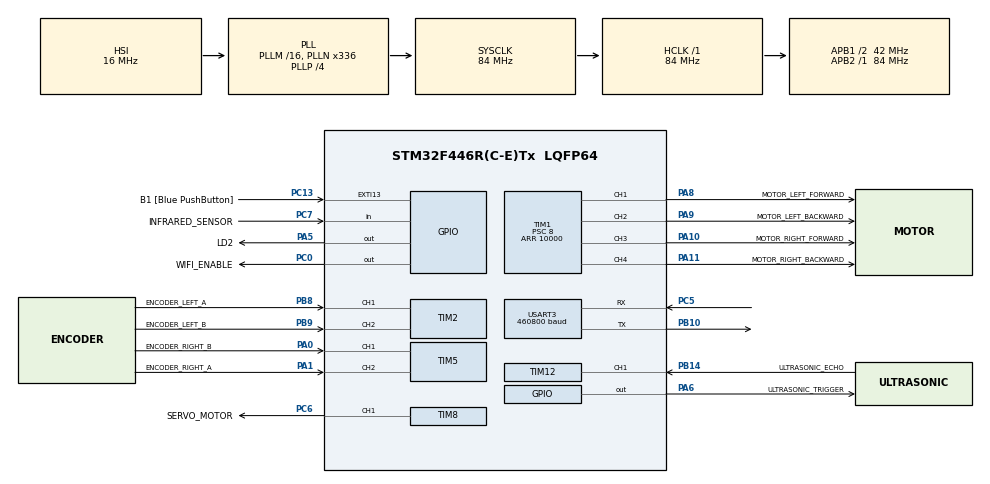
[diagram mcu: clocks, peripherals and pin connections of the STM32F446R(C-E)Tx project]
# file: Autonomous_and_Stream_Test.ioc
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Mcu.Family=STM32F4
NVIC.USART3_IRQn=true\:5\:0\:false\:false\:true\:true\:true\:true
PH0-OSC_IN.Signal=RCC_OSC_IN
VP_SYS_VS_tim6.Mode=TIM6
SH.S_TIM1_CH4.0=TIM1_CH4,PWM Generation4 CH4
RCC.CortexFreq_Value=84000000
PB10.Mode=Asynchronous
TIM12.ICPolarity_CH1=TIM_INPUTCHANNELPOLARITY_FALLING
NVIC.TIM6_DAC_IRQn=true\:0\:0\:false\:false\:true\:false\:false\:true
PB14.GPIO_Label=ULTRASONIC_ECHO
PA14.GPIO_Label=TCK
SH.S_TIM5_CH2.0=TIM5_CH2,Encoder_Interface
PC0.GPIO_Label=WIFI_ENABLE
PC6.GPIO_Label=SERVO_MOTOR
PA6.GPIO_Label=ULTRASONIC_TRIGGER
PC5.Mode=Asynchronous
PC13.GPIO_Label=B1 [Blue PushButton]
RCC.SYSCLKSource=RCC_SYSCLKSOURCE_PLLCLK
ProjectManager.StackSize=0x400
VP_FREERTOS_VS_CMSIS_V2.Mode=CMSIS_V2
VP_TIM7_VS_ClockSourceINT.Mode=Enable_Timer
TIM1.Prescaler=8
USART3.BaudRate=460800
TIM1.Channel-PWM\ Generation4\ CH4=TIM_CHANNEL_4
RCC.HCLKFreq_Value=84000000
TIM8.Channel-PWM\ Generation1\ CH1=TIM_CHANNEL_1
RCC.APB2TimFreq_Value=84000000
PC7.Signal=GPIO_Input
RCC.AHBFreq_Value=84000000
PH0-OSC_IN.Mode=HSE-External-Oscillator
RCC.HSE_VALUE=8000000
TIM12.Period=0xffff
PC14-OSC32_IN.Mode=LSE-External-Oscillator
SH.S_TIM12_CH1.0=TIM12_CH1,Input_Capture1_from_TI1
TIM1.Channel-PWM\ Generation1\ CH1=TIM_CHANNEL_1
PA14.Mode=Serial_Wire
PA10.GPIO_Label=MOTOR_RIGHT_FORWARD
Dma.USART3_TX.0.FIFOMode=DMA_FIFOMODE_DISABLE
PA8.Signal=S_TIM1_CH1
VP_TIM12_VS_ClockSourceINT.Mode=Internal
Dma.USART3_TX.0.Mode=DMA_NORMAL
VP_TIM1_VS_ClockSourceINT.Mode=Internal
TIM5.IC1Filter=15
Dma.USART3_TX.0.PeriphInc=DMA_PINC_DISABLE
RCC.FLatency-AdvancedSettings=FLASH_LATENCY_2
Dma.USART3_TX.0.MemDataAlignment=DMA_MDATAALIGN_BYTE
PH1-OSC_OUT.Mode=HSE-External-Oscillator
Mcu.Package=LQFP64
PB9.Signal=S_TIM2_CH2
PA6.Signal=GPIO_Output
NVIC.TimeBase=TIM6_DAC_IRQn
PA2.GPIO_Label=USART_TX
NVIC.TimeBaseIP=TIM6
PA10.Signal=S_TIM1_CH3
Dma.USART3_TX.0.PeriphDataAlignment=DMA_PDATAALIGN_BYTE
RCC.APB1TimFreq_Value=84000000
SH.S_TIM5_CH1.0=TIM5_CH1,Encoder_Interface
PC5.Signal=USART3_RX
TIM1.Period=10000
PC0.GPIO_PuPd=GPIO_NOPULL
Dma.Request0=USART3_TX
PC0.PinState=GPIO_PIN_RESET
VP_TIM3_VS_ClockSourceINT.Mode=Internal
PA3.Signal=USART2_RX
PB3.GPIO_Label=SWO
PC15-OSC32_OUT.Mode=LSE-External-Oscillator
Dma.USART3_TX.0.Instance=DMA1_Stream3
TIM5.IC2Filter=15
FREERTOS.Tasks01=ControlDiffDriv,48,256,StartControlDiffDrive,Default,NULL,Dynamic,NULL,NULL;DistanceSensor,48,128,StartDistanceSensor,Default,NULL,Dynamic,NULL,NULL;InfraredSensor,48,128,StartInfraredSensor,Default,NULL,Dynamic,NULL,NULL;Communication,48,256,SerialCommunication,Default,NULL,Dynamic,NULL,NULL
PB9.GPIO_Label=ENCODER_LEFT_B
TIM2.IC1Filter=15
Dma.USART3_TX.0.MemInc=DMA_MINC_ENABLE
PC13.Signal=GPXTI13
PA9.GPIO_Label=MOTOR_LEFT_BACKWARD
PC6.Signal=S_TIM8_CH1
PA11.GPIO_Label=MOTOR_RIGHT_BACKWARD
PC0.Signal=GPIO_Output
RCC.APB1CLKDivider=RCC_HCLK_DIV2
PC14-OSC32_IN.Signal=RCC_OSC32_IN
Dma.USART3_TX.0.Direction=DMA_MEMORY_TO_PERIPH
PA0-WKUP.GPIO_Label=ENCODER_RIGHT_B
PA0-WKUP.Signal=S_TIM5_CH1
PA13.Signal=SYS_JTMS-SWDIO
PB8.GPIO_Label=ENCODER_LEFT_A
SH.S_TIM2_CH2.0=TIM2_CH2,Encoder_Interface
PA8.GPIO_Label=MOTOR_LEFT_FORWARD
SH.S_TIM1_CH1.0=TIM1_CH1,PWM Generation1 CH1
ProjectManager.TargetToolchain=STM32CubeIDE
NVIC.TIM8_BRK_TIM12_IRQn=true\:5\:0\:false\:false\:true\:true\:true\:true
PA9.Signal=S_TIM1_CH2
TIM1.Channel-PWM\ Generation2\ CH2=TIM_CHANNEL_2
VP_TIM8_VS_ClockSourceINT.Mode=Internal
RCC.USBFreq_Value=168000000
PC15-OSC32_OUT.Signal=RCC_OSC32_OUT
PA1.Signal=S_TIM5_CH2
PB10.Signal=USART3_TX
TIM12.Prescaler=84-1
PB14.Signal=S_TIM12_CH1
PA5.Signal=GPIO_Output
SH.S_TIM8_CH1.0=TIM8_CH1,PWM Generation1 CH1
TIM7.Prescaler=840
board=NUCLEO-F446RE
RCC.VCOOutputFreq_Value=336000000
NVIC.TIM3_IRQn=true\:5\:0\:false\:false\:true\:true\:true\:true
RCC.APB2Freq_Value=84000000
SH.S_TIM1_CH2.0=TIM1_CH2,PWM Generation2 CH2
PA1.GPIO_Label=ENCODER_RIGHT_A
PH1-OSC_OUT.Signal=RCC_OSC_OUT
Dma.USART3_TX.0.Priority=DMA_PRIORITY_HIGH
PA13.Mode=Serial_Wire
Mcu.Name=STM32F446R(C-E)Tx
PA13.GPIO_Label=TMS
PA2.Signal=USART2_TX
PC7.GPIO_Label=INFRARED_SENSOR
RCC.48MHZClocksFreq_Value=84000000
PB3.Signal=SYS_JTDO-SWO
RCC.SYSCLKFreq_VALUE=84000000
TIM12.Channel-Input_Capture1_from_TI1=TIM_CHANNEL_1
PA5.GPIO_Label=LD2
PC13.GPIO_ModeDefaultEXTI=GPIO_MODE_IT_FALLING
USART3.VirtualMode=VM_ASYNC
PA11.Signal=S_TIM1_CH4
SH.S_TIM2_CH1_ETR.0=TIM2_CH1,Encoder_Interface
PA14.Signal=SYS_JTCK-SWCLK
ProjectManager.HeapSize=0x200
SH.S_TIM1_CH3.0=TIM1_CH3,PWM Generation3 CH3
RCC.HSI_VALUE=16000000
RCC.PLLP=RCC_PLLP_DIV4
NVIC.PriorityGroup=NVIC_PRIORITYGROUP_4
RCC.PLLN=336
PB8.Signal=S_TIM2_CH1_ETR
NVIC.DMA1_Stream3_IRQn=true\:5\:0\:false\:false\:true\:true\:false\:true
TIM1.Channel-PWM\ Generation3\ CH3=TIM_CHANNEL_3
RCC.APB1Freq_Value=42000000
TIM2.IC2Filter=15
PA3.GPIO_Label=USART_RX

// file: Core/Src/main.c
/* USER CODE BEGIN Header */
/**
  ******************************************************************************
  * @file           : main.c
  * @brief          : Main program body
  ******************************************************************************
  * @attention
  *
  * <h2><center>&copy; Copyright (c) 2021 STMicroelectronics.
  * All rights reserved.</center></h2>
  *
  * This software component is licensed by ST under BSD 3-Clause license,
  * the "License"; You may not use this file except in compliance with the
  * License. You may obtain a copy of the License at:
  *                        opensource.org/licenses/BSD-3-Clause
  *
  ******************************************************************************
  */
/* USER CODE END Header */
#include "main.h"
#include "cmsis_os.h"

/* USER CODE BEGIN Includes */

#include "my_lib/differential_drive.h"
#include "my_lib/retarget.h"
#include "my_lib/datastream.h"
#include <my_lib/datastream_utils.h>
#include "my_lib/digital_filters.h"
#include "my_lib/ultrasonic_sensor.h"
#include "my_lib/servo.h"

#include <my_data/identification.h>
#include <my_data/idinput.h>
#include <my_data/reference.h>

#include "stdbool.h"

#include <stdio.h>
#include <stdlib.h>

/* USER CODE END Includes */

/* USER CODE BEGIN PD */

//#define TEST_ULTRASONIC

/* USER CODE END PD */

TIM_HandleTypeDef htim1;
TIM_HandleTypeDef htim2;
TIM_HandleTypeDef htim3;
TIM_HandleTypeDef htim5;
TIM_HandleTypeDef htim7;
TIM_HandleTypeDef htim8;
TIM_HandleTypeDef htim12;

UART_HandleTypeDef huart3;
DMA_HandleTypeDef hdma_usart3_tx;

/* Definitions for ControlDiffDriv */
osThreadId_t ControlDiffDrivHandle;
const osThreadAttr_t ControlDiffDriv_attributes = {
  .name = "ControlDiffDriv",
  .stack_size = 256 * 4,
  .priority = (osPriority_t) osPriorityRealtime,
};
/* Definitions for DistanceSensor */
osThreadId_t DistanceSensorHandle;
const osThreadAttr_t DistanceSensor_attributes = {
  .name = "DistanceSensor",
  .stack_size = 128 * 4,
  .priority = (osPriority_t) osPriorityRealtime,
};
/* Definitions for InfraredSensor */
osThreadId_t InfraredSensorHandle;
const osThreadAttr_t InfraredSensor_attributes = {
  .name = "InfraredSensor",
  .stack_size = 128 * 4,
  .priority = (osPriority_t) osPriorityRealtime,
};
/* Definitions for Communication */
osThreadId_t CommunicationHandle;
const osThreadAttr_t Communication_attributes = {
  .name = "Communication",
  .stack_size = 256 * 4,
  .priority = (osPriority_t) osPriorityRealtime,
};
/* USER CODE BEGIN PV */

DIFFDRIVE_HandleTypeDef  hdiffdrive;
MAF_HandleTypeDef        hfilter_a;
MAF_HandleTypeDef        hfilter_th;
MAF_HandleTypeDef        hfilter_a_2;
MAF_HandleTypeDef        hfilter_th_2;
MAF_HandleTypeDef		 hfilter_infrared;

ULTRASONIC_HandleTypeDef hultra;
SERVO_HandleTypeDef      hservo;

/* USER CODE END PV */

void SystemClock_Config(void);
static void MX_GPIO_Init(void);
static void MX_DMA_Init(void);
static void MX_TIM2_Init(void);
static void MX_TIM1_Init(void);
static void MX_TIM3_Init(void);
static void MX_TIM5_Init(void);
static void MX_TIM12_Init(void);
static void MX_TIM7_Init(void);
static void MX_TIM8_Init(void);
static void MX_USART3_UART_Init(void);
void StartControlDiffDrive(void *argument);
void StartDistanceSensor(void *argument);
void StartInfraredSensor(void *argument);
void SerialCommunication(void *argument);

/* USER CODE BEGIN PFP */

static void MAIN_DIFFDRIVE_Init(void);
static void MAIN_ULTRASONIC_Init(void);
static void MAIN_MAF_Init(void);
static void MAIN_SERVO_Init(void);

/* USER CODE END PFP */

/* USER CODE BEGIN 0 */

/* Globals */

//float* delta_a_array=  DELTA_A_ref;
//float* delta_th_array= DELTA_THETA_ref;

/* Global variables, shared with threads */

volatile float delta_a=0, delta_th=0;
volatile bool tracking_error_flag= true;

/* USER CODE END 0 */

int main(void)
{

  /* MCU Configuration--------------------------------------------------------*/

  /* Reset of all peripherals, Initializes the Flash interface and the Systick. */
  HAL_Init();

  /* Configure the system clock */
  SystemClock_Config();

  /* Initialize all configured peripherals */
  MX_GPIO_Init();
  MX_DMA_Init();
  MX_TIM2_Init();
  MX_TIM1_Init();
  MX_TIM3_Init();
  MX_TIM5_Init();
  MX_TIM12_Init();
  MX_TIM7_Init();
  MX_TIM8_Init();
  MX_USART3_UART_Init();
  /* USER CODE BEGIN 2 */

  // Initialize
  DATASTREAM_Init(&huart3);
  MAIN_DIFFDRIVE_Init();
  MAIN_ULTRASONIC_Init();
  MAIN_MAF_Init();
  MAIN_SERVO_Init();

  // Wait until blue button is pressed
  while( HAL_GPIO_ReadPin(B1_GPIO_Port, B1_Pin) )
  		;

  // Enable WIFI to send/receive values
  HAL_GPIO_WritePin(WIFI_ENABLE_GPIO_Port, WIFI_ENABLE_Pin, GPIO_PIN_SET);

  // Wait for ESP boot
  HAL_Delay(3000);

  // Rapidly flash led to show MCU ready to send values
  for(int i=0; i<20; i++){
	  HAL_GPIO_TogglePin(LD2_GPIO_Port, LD2_Pin);
	  HAL_Delay(50);
  }

  // Wait for 10 received chars
  char ch[10];
  HAL_UART_Receive(&huart3, (uint8_t*) ch, sizeof(ch), HAL_MAX_DELAY);

  // Wait until button is pressed again
  //while( HAL_GPIO_ReadPin(B1_GPIO_Port, B1_Pin) )
  //		;

  // Wait a bit
  HAL_Delay(2000);

  /* USER CODE END 2 */

  /* Init scheduler */
  osKernelInitialize();

  /* Create the thread(s) */
  /* creation of ControlDiffDriv */
  ControlDiffDrivHandle = osThreadNew(StartControlDiffDrive, NULL, &ControlDiffDriv_attributes);

  /* creation of DistanceSensor */
  DistanceSensorHandle = osThreadNew(StartDistanceSensor, NULL, &DistanceSensor_attributes);

  /* creation of InfraredSensor */
  InfraredSensorHandle = osThreadNew(StartInfraredSensor, NULL, &InfraredSensor_attributes);

  /* creation of Communication */
  CommunicationHandle = osThreadNew(SerialCommunication, NULL, &Communication_attributes);

  /* Start scheduler */
  osKernelStart();

  /* We should never get here as control is now taken by the scheduler */
  /* Infinite loop */
  while (1)
  {

  }
}

void SystemClock_Config(void)
{
  RCC_OscInitTypeDef RCC_OscInitStruct = {0};
  RCC_ClkInitTypeDef RCC_ClkInitStruct = {0};

  /** Configure the main internal regulator output voltage
  */
  __HAL_RCC_PWR_CLK_ENABLE();
  __HAL_PWR_VOLTAGESCALING_CONFIG(PWR_REGULATOR_VOLTAGE_SCALE3);
  /** Initializes the RCC Oscillators according to the specified parameters
  * in the RCC_OscInitTypeDef structure.
  */
  RCC_OscInitStruct.OscillatorType = RCC_OSCILLATORTYPE_HSI;
  RCC_OscInitStruct.HSIState = RCC_HSI_ON;
  RCC_OscInitStruct.HSICalibrationValue = RCC_HSICALIBRATION_DEFAULT;
  RCC_OscInitStruct.PLL.PLLState = RCC_PLL_ON;
  RCC_OscInitStruct.PLL.PLLSource = RCC_PLLSOURCE_HSI;
  RCC_OscInitStruct.PLL.PLLM = 16;
  RCC_OscInitStruct.PLL.PLLN = 336;
  RCC_OscInitStruct.PLL.PLLP = RCC_PLLP_DIV4;
  RCC_OscInitStruct.PLL.PLLQ = 2;
  RCC_OscInitStruct.PLL.PLLR = 2;
  if (HAL_RCC_OscConfig(&RCC_OscInitStruct) != HAL_OK)
  {
    Error_Handler();
  }
  /** Initializes the CPU, AHB and APB buses clocks
  */
  RCC_ClkInitStruct.ClockType = RCC_CLOCKTYPE_HCLK|RCC_CLOCKTYPE_SYSCLK
                              |RCC_CLOCKTYPE_PCLK1|RCC_CLOCKTYPE_PCLK2;
  RCC_ClkInitStruct.SYSCLKSource = RCC_SYSCLKSOURCE_PLLCLK;
  RCC_ClkInitStruct.AHBCLKDivider = RCC_SYSCLK_DIV1;
  RCC_ClkInitStruct.APB1CLKDivider = RCC_HCLK_DIV2;
  RCC_ClkInitStruct.APB2CLKDivider = RCC_HCLK_DIV1;

  if (HAL_RCC_ClockConfig(&RCC_ClkInitStruct, FLASH_LATENCY_2) != HAL_OK)
  {
    Error_Handler();
  }
}

static void MX_TIM1_Init(void)
{

  TIM_ClockConfigTypeDef sClockSourceConfig = {0};
  TIM_MasterConfigTypeDef sMasterConfig = {0};
  TIM_OC_InitTypeDef sConfigOC = {0};
  TIM_BreakDeadTimeConfigTypeDef sBreakDeadTimeConfig = {0};

  htim1.Instance = TIM1;
  htim1.Init.Prescaler = 8;
  htim1.Init.CounterMode = TIM_COUNTERMODE_UP;
  htim1.Init.Period = 10000;
  htim1.Init.ClockDivision = TIM_CLOCKDIVISION_DIV1;
  htim1.Init.RepetitionCounter = 0;
  htim1.Init.AutoReloadPreload = TIM_AUTORELOAD_PRELOAD_DISABLE;
  if (HAL_TIM_Base_Init(&htim1) != HAL_OK)
  {
    Error_Handler();
  }
  sClockSourceConfig.ClockSource = TIM_CLOCKSOURCE_INTERNAL;
  if (HAL_TIM_ConfigClockSource(&htim1, &sClockSourceConfig) != HAL_OK)
  {
    Error_Handler();
  }
  if (HAL_TIM_PWM_Init(&htim1) != HAL_OK)
  {
    Error_Handler();
  }
  sMasterConfig.MasterOutputTrigger = TIM_TRGO_RESET;
  sMasterConfig.MasterSlaveMode = TIM_MASTERSLAVEMODE_DISABLE;
  if (HAL_TIMEx_MasterConfigSynchronization(&htim1, &sMasterConfig) != HAL_OK)
  {
    Error_Handler();
  }
  sConfigOC.OCMode = TIM_OCMODE_PWM1;
  sConfigOC.Pulse = 0;
  sConfigOC.OCPolarity = TIM_OCPOLARITY_HIGH;
  sConfigOC.OCNPolarity = TIM_OCNPOLARITY_HIGH;
  sConfigOC.OCFastMode = TIM_OCFAST_DISABLE;
  sConfigOC.OCIdleState = TIM_OCIDLESTATE_RESET;
  sConfigOC.OCNIdleState = TIM_OCNIDLESTATE_RESET;
  if (HAL_TIM_PWM_ConfigChannel(&htim1, &sConfigOC, TIM_CHANNEL_1) != HAL_OK)
  {
    Error_Handler();
  }
  if (HAL_TIM_PWM_ConfigChannel(&htim1, &sConfigOC, TIM_CHANNEL_2) != HAL_OK)
  {
    Error_Handler();
  }
  if (HAL_TIM_PWM_ConfigChannel(&htim1, &sConfigOC, TIM_CHANNEL_3) != HAL_OK)
  {
    Error_Handler();
  }
  if (HAL_TIM_PWM_ConfigChannel(&htim1, &sConfigOC, TIM_CHANNEL_4) != HAL_OK)
  {
    Error_Handler();
  }
  sBreakDeadTimeConfig.OffStateRunMode = TIM_OSSR_DISABLE;
  sBreakDeadTimeConfig.OffStateIDLEMode = TIM_OSSI_DISABLE;
  sBreakDeadTimeConfig.LockLevel = TIM_LOCKLEVEL_OFF;
  sBreakDeadTimeConfig.DeadTime = 0;
  sBreakDeadTimeConfig.BreakState = TIM_BREAK_DISABLE;
  sBreakDeadTimeConfig.BreakPolarity = TIM_BREAKPOLARITY_HIGH;
  sBreakDeadTimeConfig.AutomaticOutput = TIM_AUTOMATICOUTPUT_DISABLE;
  if (HAL_TIMEx_ConfigBreakDeadTime(&htim1, &sBreakDeadTimeConfig) != HAL_OK)
  {
    Error_Handler();
  }
  HAL_TIM_MspPostInit(&htim1);

}

static void MX_TIM2_Init(void)
{

  TIM_Encoder_InitTypeDef sConfig = {0};
  TIM_MasterConfigTypeDef sMasterConfig = {0};

  htim2.Instance = TIM2;
  htim2.Init.Prescaler = 0;
  htim2.Init.CounterMode = TIM_COUNTERMODE_UP;
  htim2.Init.Period = 4294967295;
  htim2.Init.ClockDivision = TIM_CLOCKDIVISION_DIV1;
  htim2.Init.AutoReloadPreload = TIM_AUTORELOAD_PRELOAD_DISABLE;
  sConfig.EncoderMode = TIM_ENCODERMODE_TI1;
  sConfig.IC1Polarity = TIM_ICPOLARITY_RISING;
  sConfig.IC1Selection = TIM_ICSELECTION_DIRECTTI;
  sConfig.IC1Prescaler = TIM_ICPSC_DIV1;
  sConfig.IC1Filter = 15;
  sConfig.IC2Polarity = TIM_ICPOLARITY_RISING;
  sConfig.IC2Selection = TIM_ICSELECTION_DIRECTTI;
  sConfig.IC2Prescaler = TIM_ICPSC_DIV1;
  sConfig.IC2Filter = 15;
  if (HAL_TIM_Encoder_Init(&htim2, &sConfig) != HAL_OK)
  {
    Error_Handler();
  }
  sMasterConfig.MasterOutputTrigger = TIM_TRGO_RESET;
  sMasterConfig.MasterSlaveMode = TIM_MASTERSLAVEMODE_DISABLE;
  if (HAL_TIMEx_MasterConfigSynchronization(&htim2, &sMasterConfig) != HAL_OK)
  {
    Error_Handler();
  }

}

static void MX_TIM3_Init(void)
{

  TIM_ClockConfigTypeDef sClockSourceConfig = {0};
  TIM_MasterConfigTypeDef sMasterConfig = {0};

  htim3.Instance = TIM3;
  htim3.Init.Prescaler = 0;
  htim3.Init.CounterMode = TIM_COUNTERMODE_UP;
  htim3.Init.Period = 65535;
  htim3.Init.ClockDivision = TIM_CLOCKDIVISION_DIV1;
  htim3.Init.AutoReloadPreload = TIM_AUTORELOAD_PRELOAD_DISABLE;
  if (HAL_TIM_Base_Init(&htim3) != HAL_OK)
  {
    Error_Handler();
  }
  sClockSourceConfig.ClockSource = TIM_CLOCKSOURCE_INTERNAL;
  if (HAL_TIM_ConfigClockSource(&htim3, &sClockSourceConfig) != HAL_OK)
  {
    Error_Handler();
  }
  sMasterConfig.MasterOutputTrigger = TIM_TRGO_RESET;
  sMasterConfig.MasterSlaveMode = TIM_MASTERSLAVEMODE_DISABLE;
  if (HAL_TIMEx_MasterConfigSynchronization(&htim3, &sMasterConfig) != HAL_OK)
  {
    Error_Handler();
  }

}

static void MX_TIM5_Init(void)
{

  TIM_Encoder_InitTypeDef sConfig = {0};
  TIM_MasterConfigTypeDef sMasterConfig = {0};

  htim5.Instance = TIM5;
  htim5.Init.Prescaler = 0;
  htim5.Init.CounterMode = TIM_COUNTERMODE_UP;
  htim5.Init.Period = 4294967295;
  htim5.Init.ClockDivision = TIM_CLOCKDIVISION_DIV1;
  htim5.Init.AutoReloadPreload = TIM_AUTORELOAD_PRELOAD_DISABLE;
  sConfig.EncoderMode = TIM_ENCODERMODE_TI1;
  sConfig.IC1Polarity = TIM_ICPOLARITY_RISING;
  sConfig.IC1Selection = TIM_ICSELECTION_DIRECTTI;
  sConfig.IC1Prescaler = TIM_ICPSC_DIV1;
  sConfig.IC1Filter = 15;
  sConfig.IC2Polarity = TIM_ICPOLARITY_RISING;
  sConfig.IC2Selection = TIM_ICSELECTION_DIRECTTI;
  sConfig.IC2Prescaler = TIM_ICPSC_DIV1;
  sConfig.IC2Filter = 15;
  if (HAL_TIM_Encoder_Init(&htim5, &sConfig) != HAL_OK)
  {
    Error_Handler();
  }
  sMasterConfig.MasterOutputTrigger = TIM_TRGO_RESET;
  sMasterConfig.MasterSlaveMode = TIM_MASTERSLAVEMODE_DISABLE;
  if (HAL_TIMEx_MasterConfigSynchronization(&htim5, &sMasterConfig) != HAL_OK)
  {
    Error_Handler();
  }

}

static void MX_TIM7_Init(void)
{

  TIM_MasterConfigTypeDef sMasterConfig = {0};

  htim7.Instance = TIM7;
  htim7.Init.Prescaler = 840;
  htim7.Init.CounterMode = TIM_COUNTERMODE_UP;
  htim7.Init.Period = 65535;
  htim7.Init.AutoReloadPreload = TIM_AUTORELOAD_PRELOAD_DISABLE;
  if (HAL_TIM_Base_Init(&htim7) != HAL_OK)
  {
    Error_Handler();
  }
  sMasterConfig.MasterOutputTrigger = TIM_TRGO_RESET;
  sMasterConfig.MasterSlaveMode = TIM_MASTERSLAVEMODE_DISABLE;
  if (HAL_TIMEx_MasterConfigSynchronization(&htim7, &sMasterConfig) != HAL_OK)
  {
    Error_Handler();
  }

}

static void MX_TIM8_Init(void)
{

  TIM_ClockConfigTypeDef sClockSourceConfig = {0};
  TIM_MasterConfigTypeDef sMasterConfig = {0};
  TIM_OC_InitTypeDef sConfigOC = {0};
  TIM_BreakDeadTimeConfigTypeDef sBreakDeadTimeConfig = {0};

  htim8.Instance = TIM8;
  htim8.Init.Prescaler = 0;
  htim8.Init.CounterMode = TIM_COUNTERMODE_UP;
  htim8.Init.Period = 65535;
  htim8.Init.ClockDivision = TIM_CLOCKDIVISION_DIV1;
  htim8.Init.RepetitionCounter = 0;
  htim8.Init.AutoReloadPreload = TIM_AUTORELOAD_PRELOAD_DISABLE;
  if (HAL_TIM_Base_Init(&htim8) != HAL_OK)
  {
    Error_Handler();
  }
  sClockSourceConfig.ClockSource = TIM_CLOCKSOURCE_INTERNAL;
  if (HAL_TIM_ConfigClockSource(&htim8, &sClockSourceConfig) != HAL_OK)
  {
    Error_Handler();
  }
  if (HAL_TIM_PWM_Init(&htim8) != HAL_OK)
  {
    Error_Handler();
  }
  sMasterConfig.MasterOutputTrigger = TIM_TRGO_RESET;
  sMasterConfig.MasterSlaveMode = TIM_MASTERSLAVEMODE_DISABLE;
  if (HAL_TIMEx_MasterConfigSynchronization(&htim8, &sMasterConfig) != HAL_OK)
  {
    Error_Handler();
  }
  sConfigOC.OCMode = TIM_OCMODE_PWM1;
  sConfigOC.Pulse = 0;
  sConfigOC.OCPolarity = TIM_OCPOLARITY_HIGH;
  sConfigOC.OCNPolarity = TIM_OCNPOLARITY_HIGH;
  sConfigOC.OCFastMode = TIM_OCFAST_DISABLE;
  sConfigOC.OCIdleState = TIM_OCIDLESTATE_RESET;
  sConfigOC.OCNIdleState = TIM_OCNIDLESTATE_RESET;
  if (HAL_TIM_PWM_ConfigChannel(&htim8, &sConfigOC, TIM_CHANNEL_1) != HAL_OK)
  {
    Error_Handler();
  }
  sBreakDeadTimeConfig.OffStateRunMode = TIM_OSSR_DISABLE;
  sBreakDeadTimeConfig.OffStateIDLEMode = TIM_OSSI_DISABLE;
  sBreakDeadTimeConfig.LockLevel = TIM_LOCKLEVEL_OFF;
  sBreakDeadTimeConfig.DeadTime = 0;
  sBreakDeadTimeConfig.BreakState = TIM_BREAK_DISABLE;
  sBreakDeadTimeConfig.BreakPolarity = TIM_BREAKPOLARITY_HIGH;
  sBreakDeadTimeConfig.AutomaticOutput = TIM_AUTOMATICOUTPUT_DISABLE;
  if (HAL_TIMEx_ConfigBreakDeadTime(&htim8, &sBreakDeadTimeConfig) != HAL_OK)
  {
    Error_Handler();
  }
  HAL_TIM_MspPostInit(&htim8);

}

static void MX_TIM12_Init(void)
{

  TIM_ClockConfigTypeDef sClockSourceConfig = {0};
  TIM_IC_InitTypeDef sConfigIC = {0};

  htim12.Instance = TIM12;
  htim12.Init.Prescaler = 84-1;
  htim12.Init.CounterMode = TIM_COUNTERMODE_UP;
  htim12.Init.Period = 0xffff;
  htim12.Init.ClockDivision = TIM_CLOCKDIVISION_DIV1;
  htim12.Init.AutoReloadPreload = TIM_AUTORELOAD_PRELOAD_DISABLE;
  if (HAL_TIM_Base_Init(&htim12) != HAL_OK)
  {
    Error_Handler();
  }
  sClockSourceConfig.ClockSource = TIM_CLOCKSOURCE_INTERNAL;
  if (HAL_TIM_ConfigClockSource(&htim12, &sClockSourceConfig) != HAL_OK)
  {
    Error_Handler();
  }
  if (HAL_TIM_IC_Init(&htim12) != HAL_OK)
  {
    Error_Handler();
  }
  sConfigIC.ICPolarity = TIM_INPUTCHANNELPOLARITY_FALLING;
  sConfigIC.ICSelection = TIM_ICSELECTION_DIRECTTI;
  sConfigIC.ICPrescaler = TIM_ICPSC_DIV1;
  sConfigIC.ICFilter = 0;
  if (HAL_TIM_IC_ConfigChannel(&htim12, &sConfigIC, TIM_CHANNEL_1) != HAL_OK)
  {
    Error_Handler();
  }

}

static void MX_USART3_UART_Init(void)
{

  huart3.Instance = USART3;
  huart3.Init.BaudRate = 460800;
  huart3.Init.WordLength = UART_WORDLENGTH_8B;
  huart3.Init.StopBits = UART_STOPBITS_1;
  huart3.Init.Parity = UART_PARITY_NONE;
  huart3.Init.Mode = UART_MODE_TX_RX;
  huart3.Init.HwFlowCtl = UART_HWCONTROL_NONE;
  huart3.Init.OverSampling = UART_OVERSAMPLING_16;
  if (HAL_UART_Init(&huart3) != HAL_OK)
  {
    Error_Handler();
  }

}

static void MX_DMA_Init(void)
{

  /* DMA controller clock enable */
  __HAL_RCC_DMA1_CLK_ENABLE();

  /* DMA interrupt init */
  /* DMA1_Stream3_IRQn interrupt configuration */
  HAL_NVIC_SetPriority(DMA1_Stream3_IRQn, 5, 0);
  HAL_NVIC_EnableIRQ(DMA1_Stream3_IRQn);

}

static void MX_GPIO_Init(void)
{
  GPIO_InitTypeDef GPIO_InitStruct = {0};

  /* GPIO Ports Clock Enable */
  __HAL_RCC_GPIOC_CLK_ENABLE();
  __HAL_RCC_GPIOH_CLK_ENABLE();
  __HAL_RCC_GPIOA_CLK_ENABLE();
  __HAL_RCC_GPIOB_CLK_ENABLE();

  /*Configure GPIO pin Output Level */
  HAL_GPIO_WritePin(WIFI_ENABLE_GPIO_Port, WIFI_ENABLE_Pin, GPIO_PIN_RESET);

  /*Configure GPIO pin Output Level */
  HAL_GPIO_WritePin(GPIOA, LD2_Pin|ULTRASONIC_TRIGGER_Pin, GPIO_PIN_RESET);

  /*Configure GPIO pin : B1_Pin */
  GPIO_InitStruct.Pin = B1_Pin;
  GPIO_InitStruct.Mode = GPIO_MODE_IT_FALLING;
  GPIO_InitStruct.Pull = GPIO_NOPULL;
  HAL_GPIO_Init(B1_GPIO_Port, &GPIO_InitStruct);

  /*Configure GPIO pin : WIFI_ENABLE_Pin */
  GPIO_InitStruct.Pin = WIFI_ENABLE_Pin;
  GPIO_InitStruct.Mode = GPIO_MODE_OUTPUT_PP;
  GPIO_InitStruct.Pull = GPIO_NOPULL;
  GPIO_InitStruct.Speed = GPIO_SPEED_FREQ_LOW;
  HAL_GPIO_Init(WIFI_ENABLE_GPIO_Port, &GPIO_InitStruct);

  /*Configure GPIO pins : USART_TX_Pin USART_RX_Pin */
  GPIO_InitStruct.Pin = USART_TX_Pin|USART_RX_Pin;
  GPIO_InitStruct.Mode = GPIO_MODE_AF_PP;
  GPIO_InitStruct.Pull = GPIO_NOPULL;
  GPIO_InitStruct.Speed = GPIO_SPEED_FREQ_VERY_HIGH;
  GPIO_InitStruct.Alternate = GPIO_AF7_USART2;
  HAL_GPIO_Init(GPIOA, &GPIO_InitStruct);

  /*Configure GPIO pins : LD2_Pin ULTRASONIC_TRIGGER_Pin */
  GPIO_InitStruct.Pin = LD2_Pin|ULTRASONIC_TRIGGER_Pin;
  GPIO_InitStruct.Mode = GPIO_MODE_OUTPUT_PP;
  GPIO_InitStruct.Pull = GPIO_NOPULL;
  GPIO_InitStruct.Speed = GPIO_SPEED_FREQ_LOW;
  HAL_GPIO_Init(GPIOA, &GPIO_InitStruct);

  /*Configure GPIO pin : INFRARED_SENSOR_Pin */
  GPIO_InitStruct.Pin = INFRARED_SENSOR_Pin;
  GPIO_InitStruct.Mode = GPIO_MODE_INPUT;
  GPIO_InitStruct.Pull = GPIO_NOPULL;
  HAL_GPIO_Init(INFRARED_SENSOR_GPIO_Port, &GPIO_InitStruct);

}

/* USER CODE BEGIN 4 */

static void MAIN_DIFFDRIVE_Init(void){

	float Ts= 0.01;
	int max_sample= 1000;

	/* Timing parameters */
	hdiffdrive.Init.timing_htim= &htim3;
	hdiffdrive.Init.timing_time_step= Ts;

	/* Sensors parameters */
	hdiffdrive.Init.encoder_htim[left ]= &htim2;
	hdiffdrive.Init.encoder_htim[right]= &htim5;
	hdiffdrive.Init.encoder_channel[left ]= TIM_CHANNEL_1;
	hdiffdrive.Init.encoder_channel[right]= TIM_CHANNEL_1;

	hdiffdrive.Init.encoder_resolution[left ]= 1900; //1920; // Number of step each wheel revolution
	hdiffdrive.Init.encoder_resolution[right]= 1900; //1920;

	/* Motors parameters */
	hdiffdrive.Init.motor_htim[left ][forward ]= &htim1;
	hdiffdrive.Init.motor_htim[left ][backward]= &htim1;
	hdiffdrive.Init.motor_htim[right][forward ]= &htim1;
	hdiffdrive.Init.motor_htim[right][backward]= &htim1;

	hdiffdrive.Init.motor_pwm_channel[left ][forward ]= TIM_CHANNEL_1;
	hdiffdrive.Init.motor_pwm_channel[left ][backward]= TIM_CHANNEL_2;
	hdiffdrive.Init.motor_pwm_channel[right][forward ]= TIM_CHANNEL_3;
	hdiffdrive.Init.motor_pwm_channel[right][backward]= TIM_CHANNEL_4;

	hdiffdrive.Init.motor_max_voltage[left ]= 	  MOTOR_MAX_VOLTAGE;
	hdiffdrive.Init.motor_max_voltage[right]= 	  MOTOR_MAX_VOLTAGE;
	hdiffdrive.Init.motor_min_voltage[left ]= 	  MOTOR_MIN_VOLTAGE;
	hdiffdrive.Init.motor_min_voltage[right]= 	  MOTOR_MIN_VOLTAGE;
	hdiffdrive.Init.motor_supply_voltage[left]=   SUPPLY_VOLTAGE;
	hdiffdrive.Init.motor_supply_voltage[right]=  SUPPLY_VOLTAGE;

	/* Feed-forward law parameters */
	hdiffdrive.Init.control_fdfrwrd_arma_AR[left ]= AR_L;
	hdiffdrive.Init.control_fdfrwrd_arma_AR[right]= AR_R;
	hdiffdrive.Init.control_fdfrwrd_arma_MA[left ]= MA_L;
	hdiffdrive.Init.control_fdfrwrd_arma_MA[right]= MA_R;
	hdiffdrive.Init.control_fdfrwrd_arma_n_ar[left ]= N_AR_L;
	hdiffdrive.Init.control_fdfrwrd_arma_n_ar[right]= N_AR_R;
	hdiffdrive.Init.control_fdfrwrd_arma_n_ma[left ]= N_MA_L;
	hdiffdrive.Init.control_fdfrwrd_arma_n_ma[right]= N_MA_R;
	hdiffdrive.Init.control_fdfrwrd_arma_tau[left ]= TAU_L;
	hdiffdrive.Init.control_fdfrwrd_arma_tau[right]= TAU_R;

	/* PID law parameters */
	hdiffdrive.Init.control_pid_P[left ]= 5*0.00133180775219883*1e1*5e2;   // 0.50835*0.08; // 0.40835;
	hdiffdrive.Init.control_pid_P[right]= 5*0.00133180775219883*1e1*5e2;   // 0.50835*0.08; // 0.40835
	hdiffdrive.Init.control_pid_I[left ]= 15.64986485011565*1e-3*5e2; // 0.57005*0.004; // 0.27005;
	hdiffdrive.Init.control_pid_I[right]= 15.64986485011565*1e-3*5e2; // 0.57005*0.004; // 0.27005;
	hdiffdrive.Init.control_pid_D[left ]= 0.5*0;
	hdiffdrive.Init.control_pid_D[right]= 0.5*0;

	/* History parameters */
	hdiffdrive.Init.history_max_sample= max_sample;

	/* Mechanical parameters (from real model) */
	hdiffdrive.Init.mech_prmtr_l=                 0.156/2;	// Distance between wheels
	hdiffdrive.Init.mech_prmtr_r=                 0.0695/2; // Wheels radius
	hdiffdrive.Init.mech_prmtr_max_wheel_speed=   16;//20;  // Radiant each seconds (rad/s), DC motor and gears specifics

	DIFFDRIVE_Init(&hdiffdrive);

}

static void MAIN_ULTRASONIC_Init(void){

	hultra.Init.htim=           		&htim12;
	hultra.Init.history_lenght= 		100;
	hultra.Init.io_trig_GPIOx=   	    ULTRASONIC_TRIGGER_GPIO_Port;
	hultra.Init.io_trig_Pin=   			ULTRASONIC_TRIGGER_Pin;
	hultra.Init.io_echo_GPIOx=  		ULTRASONIC_ECHO_GPIO_Port;
	hultra.Init.io_echo_Pin=			ULTRASONIC_ECHO_Pin;
	hultra.Init.io_echo_IC_tim_channel= TIM_CHANNEL_1;

	ULTRASONIC_Init(&hultra);

}

// Moving Average Filter initialization --------------------------------------------- //
static void MAIN_MAF_Init(void){

	int filtr_a_size=  15; // 15;
	int filtr_th_size= 7; // 7;

	int filtr_a_size_2=  12;//50;
	int filtr_th_size_2= 12;//50;

	int filtr_infrared_size= 100;

	// Null pointer to use a MAF without weights
	void* weights_buff= NULL;

	// Creating filters
	hfilter_a		 = MAF_Create(filtr_a_size, 	   weights_buff);
	hfilter_th		 = MAF_Create(filtr_th_size, 	   weights_buff);
	hfilter_a_2		 = MAF_Create(filtr_a_size_2,	   weights_buff);
	hfilter_th_2     = MAF_Create(filtr_th_size_2,     weights_buff);
	hfilter_infrared = MAF_Create(filtr_infrared_size, weights_buff);

}

static void MAIN_SERVO_Init(void){

	hservo.Init.htim=        &htim8;
	hservo.Init.pwm_channel= TIM_CHANNEL_1;

	SERVO_Init(&hservo);

}

/* USER CODE END 4 */

/* USER CODE BEGIN Header_StartControlDiffDrive */

float delta_a_hist[1000];
float delta_th_hist[1000];
int k_=0;
/**
  * @brief  Function implementing the ControlDiffDriv thread.
  * @param  argument: Not used
  * @retval None
  */
/* USER CODE END Header_StartControlDiffDrive */
void StartControlDiffDrive(void *argument)
{
  /* USER CODE BEGIN 5 */

#ifdef TEST_TIMING
	int i=0;
	volatile uint16_t tmp_var[20];

	HAL_TIM_Base_Start(&htim7);

	__HAL_TIM_SET_COUNTER(&htim7,0);

#endif

	bool first= true;
	float tmp_P= hdiffdrive.control[left].pid.P;
	float tmp_I= hdiffdrive.control[left].pid.I;

	float delta_a_loc, delta_th_loc;

	// Tracking error threshold
	float e_thr= 35*3e20;//35e-2

	// Start control
	DIFFDRIVE_TrackingStart();

  /* Infinite loop */
  for(;;)
  {

#ifdef TEST_TIMING
	  __HAL_TIM_SET_COUNTER(&htim7,0);
#endif

	  // Tracking error flag enabled
	  if( tracking_error_flag ){

		  // DO SOMETHING AT EXCEPTION END
		  if( !first ){
			  DIFFDRIVE_MOTOR_Stop();
			  osThreadSuspend(DistanceSensorHandle);
			  osDelay(400);
			  osThreadResume(DistanceSensorHandle);

			  DIFFDRIVE_ENCODER_CaptureMeasure();
			  DIFFDRIVE_STATE_Update((float[2]){0,0});
			  DIFFDRIVE_HISTORY_Update(0,0);

			  DIFFDRIVE_CONTROL_Reset();

			  //MAF_Reset(&hfilter_a, 0);
			  //MAF_Reset(&hfilter_th, 0);
			  MAF_Reset(&hfilter_a_2, 0);
			  MAF_Reset(&hfilter_th_2, 0);
			  //MAF_Reset(&hfilter_infrared, 0);

			  hdiffdrive.control[left ].pid.P= tmp_P;
			  hdiffdrive.control[right].pid.P= tmp_P;
			  hdiffdrive.control[left ].pid.I= tmp_I;
			  hdiffdrive.control[right].pid.I= tmp_I;
		  }

		  // Then set first = true
		  first= true;

		  MAF_Update(&hfilter_a_2, delta_a);
		  delta_a_loc= __MAF_GET_VAL(&hfilter_a_2);

		  MAF_Update(&hfilter_th_2, delta_th);
		  delta_th_loc= __MAF_GET_VAL(&hfilter_th_2);

		  // Manage exception when the robot is stuck somehow and cannot keep following the target
		  if( hdiffdrive.control[left].pid.e_prev  >  e_thr || hdiffdrive.control[right].pid.e_prev >  e_thr ||
			  hdiffdrive.control[left].pid.e_prev  < -e_thr || hdiffdrive.control[right].pid.e_prev < -e_thr    ){

			  // Stop other thread
			//  osThreadSuspend(DistanceSensorHandle);

			  /* Move in back direction */
			  float delta_a_tmp=  -delta_a;
			  float delta_th_tmp= -delta_th;

			  hdiffdrive.control[left ].pid.P= tmp_P*0.1;
			  hdiffdrive.control[right].pid.P= tmp_P*0.1;
			  hdiffdrive.control[left ].pid.I= tmp_I*0.1;
			  hdiffdrive.control[right].pid.I= tmp_I*0.1;

			  for(int j=0; j<100; j++){

				  delta_th_tmp= delta_th;

				  // Keep use filters to smooth trajectory
				  MAF_Update(&hfilter_a_2,  delta_a_tmp);
				  MAF_Update(&hfilter_th_2, delta_th_tmp);

				  delta_a_loc=  __MAF_GET_VAL(&hfilter_a_2);
				  delta_th_loc= __MAF_GET_VAL(&hfilter_th_2);

				  if( k_ < 1000 ){
					  delta_a_hist[k_]=  delta_a_tmp;
				  	  delta_th_hist[k_]= delta_th_tmp;
				  	  k_++;
				  }

				  // Make Tracking step
				  DIFFDRIVE_TrackingStep(delta_a_loc, delta_th_loc);

				  if( !(j%10) )
					  HAL_GPIO_TogglePin(LD2_GPIO_Port, LD2_Pin);

			  }

			  osThreadSuspend(DistanceSensorHandle);
			  // Then stop motors and reset
			  DIFFDRIVE_MOTOR_Stop();

			  hdiffdrive.control[left ].pid.P= tmp_P;
			  hdiffdrive.control[right].pid.P= tmp_P;
			  hdiffdrive.control[left ].pid.I= tmp_I;
			  hdiffdrive.control[right].pid.I= tmp_I;

			  osDelay(460);

			  MAF_Reset(&hfilter_a, 0);
			  MAF_Reset(&hfilter_th, 0);
			  MAF_Reset(&hfilter_a_2, 0);
			  MAF_Reset(&hfilter_th_2, 0);

			  delta_a_loc= 0;
			  delta_th_loc= 0;

			  // Reset Control
			  DIFFDRIVE_CONTROL_Reset();

			  // Restart other thread
			  osThreadResume(DistanceSensorHandle);
		  }
	  }
	  // Tracking error flag disabled, when robot is really near an obstacle
	  else{
		  // DO SOMETHING AT EXCEPTION START
		  if(first){

			  hdiffdrive.control[left ].pid.P= tmp_P*0.1;
			  hdiffdrive.control[right].pid.P= tmp_P*0.1;
			  hdiffdrive.control[left ].pid.I= tmp_I*0.1;
			  hdiffdrive.control[right].pid.I= tmp_I*0.1;
		  }

		  // Then set first = false
		  first= false;

		  MAF_Update(&hfilter_a_2,  delta_a);
		  MAF_Update(&hfilter_th_2, delta_th);

		  delta_a_loc=  __MAF_GET_VAL(&hfilter_a_2);
		  delta_th_loc= __MAF_GET_VAL(&hfilter_th_2);
	  }

	  delta_a_hist [k_%1000]= delta_a;
	  delta_th_hist[k_%1000]= delta_th;
	  k_++;

	  // Make normal step of trajectory tracking
	  DIFFDRIVE_TrackingStep(delta_a_loc, delta_th_loc);

#ifdef TEST_TIMING
	  if( i<20 )
		  tmp_var[i++]= __HAL_TIM_GET_COUNTER(&htim7);
#endif

	  // If blue button is pressed
	  if( !HAL_GPIO_ReadPin(B1_GPIO_Port, B1_Pin) ){

		  // Stop other thread while sending values
		  osThreadSuspend(DistanceSensorHandle);

		  DIFFDRIVE_HISTORY_TypeDef tmphist= hdiffdrive.history;

		  // Stop control
		  DIFFDRIVE_TrackingStop();

		  // Repeat forever
		  for(;;){
			  // Enable WIFI to send/receive values
			  HAL_GPIO_WritePin(WIFI_ENABLE_GPIO_Port, WIFI_ENABLE_Pin, GPIO_PIN_SET);

			  // Wait for ESP boot
			  HAL_Delay(3000);

			  // Rapidly flash led to show MCU ready to send values
			  for(int i=0; i<20; i++){
				  HAL_GPIO_TogglePin(LD2_GPIO_Port, LD2_Pin);
				  HAL_Delay(50);
			  }

			  // Wait for 10 received chars
			  char ch[10];
			  HAL_UART_Receive(&huart3, (uint8_t*) ch, sizeof(ch), HAL_MAX_DELAY);

			  // Wait until button is pressed again
			  //while( HAL_GPIO_ReadPin(B1_GPIO_Port, B1_Pin) )
			  //		;

			  // Wait a bit
			  osDelay(2000);

			  // Number of saved samples
			  uint32_t N_sample;
			  if( tmphist.sample_cnt < tmphist.max_sample )
				  N_sample=  tmphist.sample_cnt;
			  else
				  N_sample=  tmphist.max_sample;

			  // First values send is the actual number of samples
			  DATASTREAM_RTOS_SendValue(stream_on_matlab, 1, (double)N_sample);
			  // Bit of transfer delay
			  osDelay(8);

			  // Init History Get function
			  DIFFDRIVE_HISTORY_Get_Init();

			  for(int k= 0; k < N_sample; k++){
				  // Temporary variables
				  DIFFDRIVE_STATE_TypeDef state_measure, state_target;

				  // Get one state sample from history
				  DIFFDRIVE_HISTORY_Get_Sample(&state_measure, &state_target);

				  // Send values to serial connected to ESP WiFi module
				  DATASTREAM_RTOS_SendValue(
						  stream_on_matlab, 16,
						  state_measure.input[left], state_measure.input[right],
						  state_target .input[left], state_target .input[right],
						  state_measure.wheel[left], state_measure.wheel[right],
						  state_target .wheel[left], state_target .wheel[right],
						  state_measure.pose.x_a,    state_measure.pose.y_a,
						  state_measure.pose.theta,
						  state_target .pose.x_a,    state_target.pose.y_a,
						  state_target .pose.theta,
						  delta_a_hist[k],		     delta_th_hist[k]
				  );
				  // Bit of transfer delay
				  osDelay(8);
				  // Toggling led to show data transfer operation
				  if( !(k%50) )
					  HAL_GPIO_TogglePin(LD2_GPIO_Port, LD2_Pin);
			  }

			  // Turn off LED
			  HAL_GPIO_WritePin(LD2_GPIO_Port, LD2_Pin, GPIO_PIN_RESET);

			  // Disable WiFi
			  HAL_GPIO_WritePin(WIFI_ENABLE_GPIO_Port, WIFI_ENABLE_Pin, GPIO_PIN_RESET);

			  // Wait for blue button pressed again
			  while( HAL_GPIO_ReadPin(B1_GPIO_Port, B1_Pin) )
				  ;
		  }
/*
		  // Resume other thread
		  osThreadResume(DistanceSensorHandle);

		  // Start control again
		  DIFFDRIVE_TrackingStart();
*/
	  }
  }
  /* USER CODE END 5 */
}

void StartDistanceSensor(void *argument)
{
  /* USER CODE BEGIN StartDistanceSensor */

	ULTRASONIC_StatusTypeDef status;

	float deg_eq= 82;
	float deg_array[30]= {-8,12,22,32,42,52,62,72,82,92,102,112,122,142,152,172,152,142,122,112,102,92,82,72,62,52,42,32,22,12};
	int n= sizeof(deg_array)/sizeof(float);

	float distance;
	float distance_threshold= 15;

	float max_distance= ULTRASONIC_MAX_DISTANCE*0.5;
	float min_distance= ULTRASONIC_MIN_DISTANCE;

	float delta_a_tmp;
	float delta_a_max; //= 0.003;

	float delta_th_tmp;
	float delta_th_max; //= 0.025;

	float IR_val;

	int k=0, k2=0;
	(void)k; // Suppress unused variable warning

	float delta_wheel_max[2];
	delta_wheel_max[left ]= hdiffdrive.mech_prmtr.max_wheel_speed*hdiffdrive.timing.time_step;
	delta_wheel_max[right]= hdiffdrive.mech_prmtr.max_wheel_speed*hdiffdrive.timing.time_step;

	// Delta_a_max computation
	DIFFDRIVE_DeltaWheel2DeltaTrajectory(&delta_a_max, NULL, delta_wheel_max);
	delta_a_max *= 0.6; //0.6

	// Delta_th_max computation
	delta_wheel_max[left]= -delta_wheel_max[left];
	DIFFDRIVE_DeltaWheel2DeltaTrajectory(NULL, &delta_th_max, delta_wheel_max);
	delta_th_max *= 0.25;

	//Floyd è cattivello, un super cattivello
	//Obli invece è molto carina <3

  /* Infinite loop */
  for(;;)
  {

	  for(int j=0; j<n; j++){

		  // Setting up sensor direction using a servo
		  SERVO_SetDegree(&hservo, deg_array[j]);

		  // Wait a bit for servo settlement and between ultrasonic acquisition
		  osDelay(120);

		  /* Capture measured distance */

		  status= ULTRASONIC_CaptureMeasure(&hultra);

		  // If there is an error set max distance (an error can occur when a sensor timeout
		  // take place, because the ultrasonic signal is lost)
		  if( status == ULTRASONIC_OK )
			  distance= __ULTRASONIC_GET_DISTANCE(&hultra);
		  else
			  distance= max_distance;

		  // Sensor fusion with IR Sensor
		  IR_val = __MAF_GET_VAL(&hfilter_infrared);
		  distance *= IR_val;

		  // Set minimum distance
		  if( distance < min_distance)
			  distance = min_distance;

		  /* Using measured distance and servo angular position to generate a trajectory */

		  // Robot linear position variation (direct proportional to distance) and negative below a distance threshold
		  delta_a_tmp= (distance-distance_threshold)*4*1e-5;
		  if( distance < distance_threshold)
			  delta_a_tmp *= 1.5;

		  // Robot angular position (yaw) variation (inversely proportional to distance with sign that
		  // depends on servo degree position)
		  if( deg_array[j] > deg_eq )
			  delta_th_tmp= -0.48/distance*0.9;//*1.5;
		  else
			  delta_th_tmp=  0.48/distance*0.9;//*1.5;

		  // Enroll angular variations
		  if( delta_th_tmp > delta_th_max )
			  delta_th_tmp= delta_th_max;
		  else
		  if( delta_th_tmp < -delta_th_max )
			  delta_th_tmp= -delta_th_max;

		  if( delta_th_tmp < 0.01 && delta_th_tmp > -0.01 )
			  delta_th_tmp= 0;

		  // Enroll position variationstype filter text
		  if ( delta_a_tmp > delta_a_max)
			  delta_a_tmp= delta_a_max;

		  if ( delta_a_tmp < -delta_a_max)
			  delta_a_tmp= -delta_a_max;

		  // If distance is above a fixed threshold use the generated trajectory variation
		  if( distance > distance_threshold ){

			  k= 0;

			  // Tracking error control enabling
			  tracking_error_flag= true;

		  	  // Smoothing measure using a Moving Average Filter

		  	  MAF_Update(&hfilter_a, delta_a_tmp);
		  	  delta_a= __MAF_GET_VAL(&hfilter_a);

		  	  MAF_Update(&hfilter_th, delta_th_tmp);
		  	  delta_th= __MAF_GET_VAL(&hfilter_th);

	  	  }
		  // Otherwise, if distance is below a fixed threshold freeze servo in that position and move 'way from obstacle
	  	  else{
	  		  // This do freeze servo
	  		  j--;
			  if( ++k > 1 || IR_val <= 0.5 ){

				  // Following error control disabling (it doesn't need to follow the trajectory perfectly, it just
				  // need to move away from a really near obstacle)
				  tracking_error_flag= false;

				  /* Avoiding the use of filtered values to have a fast response near an obstacle. Anyway,
					 keep  update filters just to not have discontinuities after this exception ends.       */

				  // Force a minimum Delta_a value, otherwise, near threshold, sometimes robot stand still
				  delta_a=  (delta_a_tmp - delta_a_max*0.1)*1;

				  if( delta_a > 0)
				  	  delta_a= -delta_a;

				  // Set current Delta_theta angle
				  delta_th= delta_th_tmp;

				  // Filters updates
				  MAF_Update(&hfilter_a,  delta_a_tmp);
				  //delta_a= __MAF_GET_VAL(&hfilter_a);
				  MAF_Update(&hfilter_th, delta_th_tmp);
				  //delta_th= __MAF_GET_VAL(&hfilter_th);

				  // Freeze servo just for a fixed time
				  if( k++ > 30 ){
					  k= 0;
					  j++;
					  //delta_a_tmp= -delta_a_tmp;
				  }
			  }
	  	  }

		  if( distance > distance_threshold && distance < distance_threshold*4){
			  j--;
			  if( k2++ > 10 ){
				  k2= 0;
				  j++;
			  }
		  }

		  // Toggle led to see if the task is still running
		 // HAL_GPIO_TogglePin(LD2_GPIO_Port, LD2_Pin);

		  // Wait at least 60ms for each ultrasonic sensor acquisition
//		  osDelay(60);

#ifdef TEST_ULTRASONIC
		  // Transmit measured distance //

		  char uart_data_buff[8];

		  ftoa(distance, uart_data_buff, 4); // Float to Array!

		  // Polling TX - a transmission every second
		  HAL_UART_Transmit(&huart2, (uint8_t *)uart_data_buff, sizeof(uart_data_buff), HAL_MAX_DELAY);
		  HAL_UART_Transmit(&huart2, (uint8_t *)((char[1]){'\n'}), sizeof(char),HAL_MAX_DELAY);

#endif /* TEST_ULTRASONIC */

	  }
  }
  /* USER CODE END StartDistanceSensor */
}

void StartInfraredSensor(void *argument)
{
  /* USER CODE BEGIN StartInfraredSensor */
  /* Infinite loop */

	int sens=0, k=0;
	(void) k;

	for(;;){

		sens= HAL_GPIO_ReadPin(INFRARED_SENSOR_GPIO_Port, INFRARED_SENSOR_Pin);

		MAF_Update(&hfilter_infrared, sens);

		osDelay(1);
	}
  /* USER CODE END StartInfraredSensor */
}

void SerialCommunication(void *argument)
{
  /* USER CODE BEGIN SerialCommunication */

  uint32_t curr_sample_cnt= 0, prev_sample_cnt= 0;
  DIFFDRIVE_HISTORY_TypeDef* tmphist= &(hdiffdrive.history);

  /* Infinite loop */
  for(;;)
  {

	  if( (curr_sample_cnt= tmphist->sample_cnt) != prev_sample_cnt ){

		  // Update variable
		  prev_sample_cnt= curr_sample_cnt;

		  // Temporary variables
		  DIFFDRIVE_STATE_TypeDef state_measure, state_target;

		  // Get one state sample from history
		  //DIFFDRIVE_HISTORY_Get_Sample(&state_measure, &state_target);

		  // Get state samples from history
		  state_measure= tmphist->state_measure[tmphist->index];
		  state_target=  tmphist->state_target [tmphist->index];

		  // Send values to serial connected to ESP WiFi module
		  DATASTREAM_RTOS_SendValue(
				  stream_on_matlab_new, 14,
				  state_measure.input[left], state_measure.input[right],
				  state_target .input[left], state_target .input[right],
				  state_measure.wheel[left], state_measure.wheel[right],
				  state_target .wheel[left], state_target .wheel[right],
				  state_measure.pose.x_a,    state_measure.pose.y_a,
				  state_measure.pose.theta,
				  state_target .pose.x_a,    state_target.pose.y_a,
				  state_target .pose.theta
		  );
	  }

	  osDelay(20);

  }
  /* USER CODE END SerialCommunication */
}

 /**
  * @brief  Period elapsed callback in non blocking mode
  * @note   This function is called  when TIM6 interrupt took place, inside
  * HAL_TIM_IRQHandler(). It makes a direct call to HAL_IncTick() to increment
  * a global variable "uwTick" used as application time base.
  * @param  htim : TIM handle
  * @retval None
  */
void HAL_TIM_PeriodElapsedCallback(TIM_HandleTypeDef *htim)
{
  if (htim->Instance == TIM6) {
    HAL_IncTick();
  }
}

void Error_Handler(void)
{
  __disable_irq();
  while (1)
  {
  }
}

/************************ (C) COPYRIGHT STMicroelectronics *****END OF FILE****/
